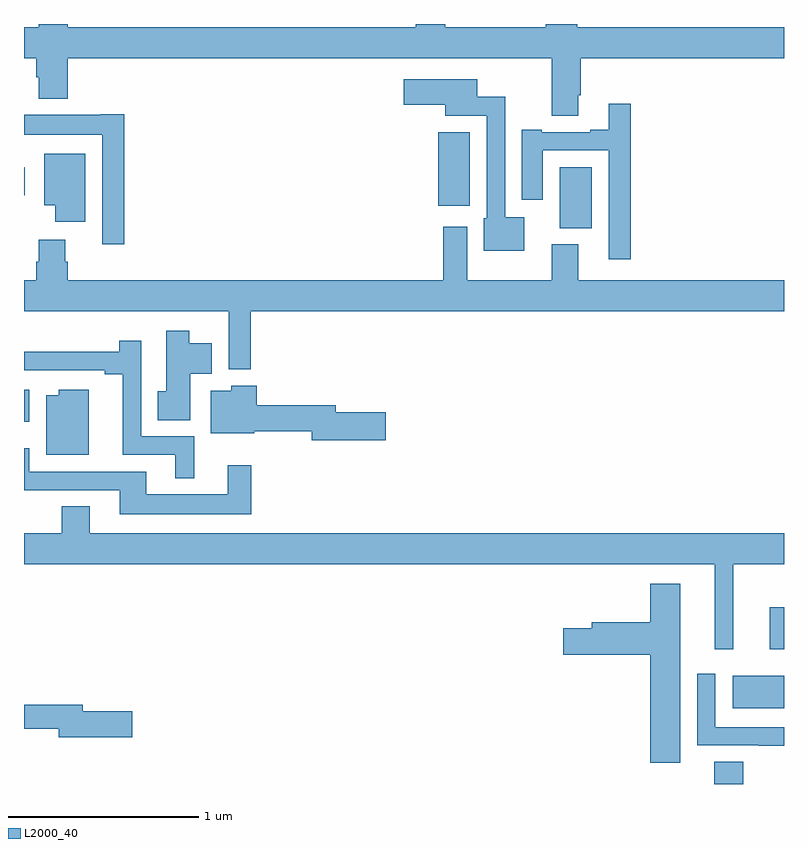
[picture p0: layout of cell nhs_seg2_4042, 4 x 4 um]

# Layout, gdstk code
import gdstk
lib = gdstk.Library(unit=1e-6, precision=1e-09)
def R(c, l, rs):  # rectangles x0, y0, x1, y1
    for r in rs: c.add(gdstk.rectangle(r[:2], r[2:], *l))
def P(c, l, *ps):  # polygons
    for p in ps: c.add(gdstk.Polygon(p, *l))
L2000_40 = (2000, 40)

nhs_seg2_4042 = lib.new_cell('nhs_seg2_4042')
R(nhs_seg2_4042, L2000_40, [(330.632,659.8,330.785,659.918), (330.731,660.2,331,660.37), (330.926,660.51,331,660.729), (327,661.706,327.028,661.876), (329.819,662.726,329.989,663.046), (329.18,662.843,329.347,663.229), (327,662.899,327.004,663.046)])
P(nhs_seg2_4042, L2000_40, [(329.917,663.424),(329.93,663.424),(329.93,663.62),(331,663.62),(331,663.784),(329.912,663.784),(329.912,663.8),(329.747,663.8),(329.747,663.784),(329.216,663.784),(329.216,663.8),(329.063,663.8),(329.063,663.784),(327.23,663.784),(327.23,663.8),(327.078,663.8),(327.078,663.784),(327,663.784),(327,663.62),(327.065,663.62),(327.065,663.519),(327.077,663.519),(327.077,663.407),(327.23,663.407),(327.23,663.62),(329.777,663.62),(329.777,663.316),(329.917,663.316)],
  [(329.632,662.782),(329.532,662.782),(329.532,663.416),(329.386,663.416),(329.386,663.508),(328.998,663.508),(328.998,663.374),(329.216,663.374),(329.216,663.318),(329.436,663.318),(329.436,662.778),(329.42,662.778),(329.42,662.606),(329.632,662.606)],
  [(330.194,663.379),(330.077,663.379),(330.077,663.244),(329.981,663.244),(329.981,663.231),(329.725,663.231),(329.725,663.244),(329.621,663.244),(329.621,662.874),(329.731,662.874),(329.731,663.135),(330.078,663.135),(330.078,662.562),(330.194,662.562)],
  [(327.527,663.325),(327.404,663.325),(327.404,663.322),(327,663.322),(327,663.218),(327.411,663.218),(327.411,662.64),(327.527,662.64)],
  [(327.322,663.118),(327.107,663.118),(327.107,662.846),(327.164,662.846),(327.164,662.76),(327.322,662.76)],
  [(328.193,662.288),(331,662.288),(331,662.452),(329.917,662.452),(329.917,662.641),(329.777,662.641),(329.777,662.452),(329.332,662.452),(329.332,662.734),(329.207,662.734),(329.207,662.452),(327.23,662.452),(327.23,662.55),(327.217,662.55),(327.217,662.665),(327.077,662.665),(327.077,662.55),(327.065,662.55),(327.065,662.452),(327,662.452),(327,662.288),(328.077,662.288),(328.077,661.982),(328.193,661.982)],
  [(327.874,661.958),(327.988,661.958),(327.988,662.119),(327.871,662.119),(327.871,662.185),(327.749,662.185),(327.749,661.866),(327.703,661.866),(327.703,661.714),(327.874,661.714)],
  [(327.895,661.629),(327.618,661.629),(327.618,662.134),(327.502,662.134),(327.502,662.075),(327,662.075),(327,661.977),(327.425,661.977),(327.425,661.957),(327.521,661.957),(327.521,661.533),(327.797,661.533),(327.797,661.409),(327.895,661.409)],
  [(328.903,661.757),(328.642,661.757),(328.642,661.793),(328.226,661.793),(328.226,661.897),(328.092,661.897),(328.092,661.87),(327.983,661.87),(327.983,661.646),(328.213,661.646),(328.213,661.657),(328.514,661.657),(328.514,661.61),(328.903,661.61)],
  [(327.34,661.876),(327.182,661.876),(327.182,661.846),(327.116,661.846),(327.116,661.532),(327.34,661.532)],
  [(328.195,661.477),(328.073,661.477),(328.073,661.324),(327.643,661.324),(327.643,661.443),(327.027,661.443),(327.027,661.567),(327,661.567),(327,661.347),(327.503,661.347),(327.503,661.22),(328.195,661.22)],
  [(330.734,660.956),(331,660.956),(331,661.12),(327.346,661.12),(327.346,661.262),(327.199,661.262),(327.199,661.12),(327,661.12),(327,660.956),(330.635,660.956),(330.635,660.51),(330.734,660.51)],
  [(330.454,660.853),(330.296,660.853),(330.296,660.651),(329.987,660.651),(329.987,660.621),(329.838,660.621),(329.838,660.479),(330.296,660.479),(330.296,659.913),(330.454,659.913)],
  [(331,660.099),(330.639,660.099),(330.639,660.379),(330.543,660.379),(330.543,660.003),(330.868,660.003),(330.868,660.002),(331,660.002)],
  [(327.571,660.182),(327.31,660.182),(327.31,660.218),(327,660.218),(327,660.09),(327.182,660.09),(327.182,660.047),(327.571,660.047)])

lib.write_gds('nhs_seg2_4042.gds')
